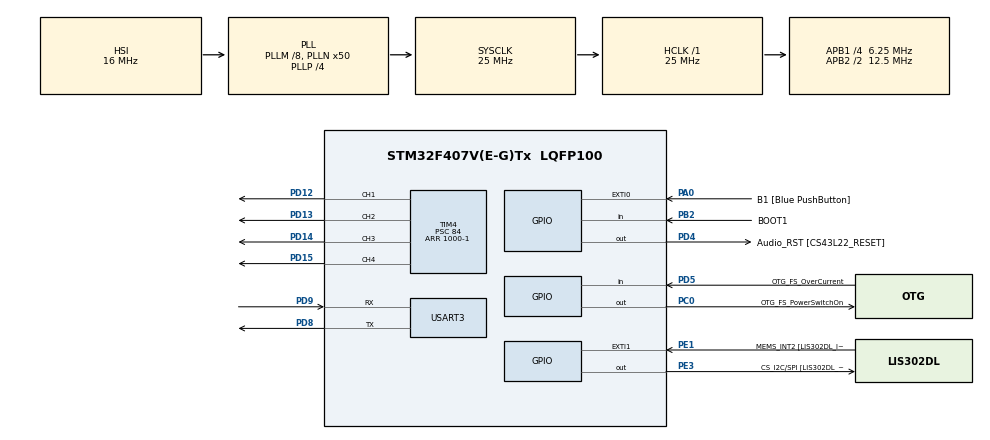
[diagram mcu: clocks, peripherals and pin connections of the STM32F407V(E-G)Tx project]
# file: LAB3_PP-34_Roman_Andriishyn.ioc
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FREERTOS.Mutexes01=ledMutex,Dynamic,NULL,Available
FREERTOS.Tasks01=defaultTask,24,128,StartDefaultTask,Default,NULL,Dynamic,NULL,NULL;ledControlTask,24,128,ledControl,Default,NULL,Dynamic,NULL,NULL
FREERTOS.configUSE_NEWLIB_REENTRANT=1
Mcu.Family=STM32F4
Mcu.Name=STM32F407V(E-G)Tx
Mcu.Package=LQFP100
NVIC.PriorityGroup=NVIC_PRIORITYGROUP_4
NVIC.TIM1_UP_TIM10_IRQn=true\:15\:0\:false\:false\:true\:false\:false\:true\:true
NVIC.TimeBase=TIM1_UP_TIM10_IRQn
NVIC.TimeBaseIP=TIM1
PA0-WKUP.GPIO_Label=B1 [Blue PushButton]
PA0-WKUP.Signal=GPXTI0
PA10.GPIO_Label=OTG_FS_ID
PA10.GPIO_Mode=GPIO_MODE_AF_PP
PA10.GPIO_PuPd=GPIO_NOPULL
PA10.GPIO_Speed=GPIO_SPEED_FREQ_LOW
PA10.Signal=USB_OTG_FS_ID
PA11.GPIO_Label=OTG_FS_DM
PA11.GPIO_Mode=GPIO_MODE_AF_PP
PA11.GPIO_PuPd=GPIO_NOPULL
PA11.GPIO_Speed=GPIO_SPEED_FREQ_LOW
PA11.Signal=USB_OTG_FS_DM
PA12.GPIO_Label=OTG_FS_DP
PA12.GPIO_Mode=GPIO_MODE_AF_PP
PA12.GPIO_PuPd=GPIO_NOPULL
PA12.GPIO_Speed=GPIO_SPEED_FREQ_LOW
PA12.Signal=USB_OTG_FS_DP
PA13.GPIO_Label=SWDIO
PA13.Signal=SYS_JTMS-SWDIO
PA14.GPIO_Label=SWCLK
PA14.Signal=SYS_JTCK-SWCLK
PA4.GPIO_Label=I2S3_WS [CS43L22_LRCK]
PA4.GPIO_Mode=GPIO_MODE_AF_PP
PA4.GPIO_PuPd=GPIO_NOPULL
PA4.GPIO_Speed=GPIO_SPEED_FREQ_LOW
PA4.Signal=I2S3_WS
PA5.GPIO_Label=SPI1_SCK [LIS302DL_SCL/SPC]
PA5.GPIO_Mode=GPIO_MODE_AF_PP
PA5.GPIO_PuPd=GPIO_NOPULL
PA5.GPIO_Speed=GPIO_SPEED_FREQ_LOW
PA5.Signal=SPI1_SCK
PA6.GPIO_Label=SPI1_MISO [LIS302DL_SDO]
PA6.GPIO_Mode=GPIO_MODE_AF_PP
PA6.GPIO_PuPd=GPIO_NOPULL
PA6.GPIO_Speed=GPIO_SPEED_FREQ_LOW
PA6.Signal=SPI1_MISO
PA7.GPIO_Label=SPI1_MOSI [LIS302DL_SDA/SDI/SDO]
PA7.GPIO_Mode=GPIO_MODE_AF_PP
PA7.GPIO_PuPd=GPIO_NOPULL
PA7.GPIO_Speed=GPIO_SPEED_FREQ_LOW
PA7.Signal=SPI1_MOSI
PA9.GPIO_Label=VBUS_FS
PA9.GPIO_Mode=GPIO_MODE_INPUT
PA9.GPIO_PuPd=GPIO_NOPULL
PA9.Signal=USB_OTG_FS_VBUS
PB10.GPIO_Label=CLK_IN [MP45DT02_CLK]
PB10.GPIO_Mode=GPIO_MODE_AF_PP
PB10.GPIO_PuPd=GPIO_NOPULL
PB10.GPIO_Speed=GPIO_SPEED_FREQ_LOW
PB10.Signal=I2S2_CK
PB2.GPIO_Label=BOOT1
PB2.GPIO_Mode=GPIO_MODE_INPUT
PB2.GPIO_PuPd=GPIO_NOPULL
PB2.Signal=GPIO_Input
PB3.GPIO_Label=SWO
PB3.Signal=SYS_JTDO-SWO
PB6.GPIO_Label=Audio_SCL [CS43L22_SCL]
PB6.GPIO_Mode=GPIO_MODE_AF_OD
PB6.GPIO_PuPd=GPIO_NOPULL
PB6.GPIO_Speed=GPIO_SPEED_FREQ_LOW
PB6.Signal=I2C1_SCL
PB9.GPIO_Label=Audio_SDA [CS43L22_SDA]
PB9.GPIO_Mode=GPIO_MODE_AF_OD
PB9.GPIO_PuPd=GPIO_NOPULL
PB9.GPIO_Speed=GPIO_SPEED_FREQ_LOW
PB9.Signal=I2C1_SDA
PC0.GPIO_Label=OTG_FS_PowerSwitchOn
PC0.GPIO_PuPd=GPIO_NOPULL
PC0.GPIO_Speed=GPIO_SPEED_FREQ_LOW
PC0.PinState=GPIO_PIN_SET
PC0.Signal=GPIO_Output
PC10.GPIO_Label=I2S3_SCK [CS43L22_SCLK]
PC10.GPIO_Mode=GPIO_MODE_AF_PP
PC10.GPIO_PuPd=GPIO_NOPULL
PC10.GPIO_Speed=GPIO_SPEED_FREQ_LOW
PC10.Signal=I2S3_CK
PC12.GPIO_Label=I2S3_SD [CS43L22_SDIN]
PC12.GPIO_Mode=GPIO_MODE_AF_PP
PC12.GPIO_PuPd=GPIO_NOPULL
PC12.GPIO_Speed=GPIO_SPEED_FREQ_LOW
PC12.Signal=I2S3_SD
PC14-OSC32_IN.GPIO_Label=PC14-OSC32_IN
PC14-OSC32_IN.Signal=RCC_OSC32_IN
PC15-OSC32_OUT.GPIO_Label=PC15-OSC32_OUT
PC15-OSC32_OUT.Signal=RCC_OSC32_OUT
PC3.GPIO_Label=PDM_OUT [MP45DT02_DOUT]
PC3.GPIO_Mode=GPIO_MODE_AF_PP
PC3.GPIO_PuPd=GPIO_NOPULL
PC3.GPIO_Speed=GPIO_SPEED_FREQ_LOW
PC3.Signal=I2S2_SD
PC7.GPIO_Label=I2S3_MCK [CS43L22_MCLK]
PC7.GPIO_Mode=GPIO_MODE_AF_PP
PC7.GPIO_PuPd=GPIO_NOPULL
PC7.GPIO_Speed=GPIO_SPEED_FREQ_LOW
PC7.Signal=I2S3_MCK
PD12.Signal=S_TIM4_CH1
PD13.Signal=S_TIM4_CH2
PD14.Signal=S_TIM4_CH3
PD15.Signal=S_TIM4_CH4
PD4.GPIO_Label=Audio_RST [CS43L22_RESET]
PD4.GPIO_PuPd=GPIO_NOPULL
PD4.GPIO_Speed=GPIO_SPEED_FREQ_LOW
PD4.Signal=GPIO_Output
PD5.GPIO_Label=OTG_FS_OverCurrent
PD5.GPIO_Mode=GPIO_MODE_INPUT
PD5.GPIO_PuPd=GPIO_NOPULL
PD5.Signal=GPIO_Input
PD8.Mode=Asynchronous
PD8.Signal=USART3_TX
PD9.Mode=Asynchronous
PD9.Signal=USART3_RX
PE1.GPIO_Label=MEMS_INT2 [LIS302DL_INT2]
PE1.GPIO_ModeDefaultEXTI=GPIO_MODE_EVT_RISING
PE1.GPIO_PuPd=GPIO_NOPULL
PE1.Signal=GPXTI1
PE3.GPIO_Label=CS_I2C/SPI [LIS302DL_CS_I2C/SPI]
PE3.GPIO_PuPd=GPIO_NOPULL
PE3.GPIO_Speed=GPIO_SPEED_FREQ_LOW
PE3.Signal=GPIO_Output
PH0-OSC_IN.GPIO_Label=PH0-OSC_IN
PH0-OSC_IN.Signal=RCC_OSC_IN
PH1-OSC_OUT.GPIO_Label=PH1-OSC_OUT
PH1-OSC_OUT.Signal=RCC_OSC_OUT
ProjectManager.HeapSize=0x200
ProjectManager.StackSize=0x400
ProjectManager.TargetToolchain=STM32CubeIDE
RCC.48MHZClocksFreq_Value=14285714.285714285
RCC.AHBFreq_Value=25000000
RCC.APB1CLKDivider=RCC_HCLK_DIV4
RCC.APB1Freq_Value=6250000
RCC.APB1TimFreq_Value=12500000
RCC.APB2CLKDivider=RCC_HCLK_DIV2
RCC.APB2Freq_Value=12500000
RCC.APB2TimFreq_Value=25000000
RCC.CortexFreq_Value=25000000
RCC.HCLKFreq_Value=25000000
RCC.HSE_VALUE=8000000
RCC.HSI_VALUE=16000000
RCC.LSE_VALUE=32768
RCC.PLLM=8
RCC.PLLN=50
RCC.PLLP=RCC_PLLP_DIV4
RCC.PLLQ=7
RCC.SYSCLKFreq_VALUE=25000000
RCC.SYSCLKSource=RCC_SYSCLKSOURCE_PLLCLK
RCC.VCOOutputFreq_Value=100000000
SH.S_TIM4_CH1.0=TIM4_CH1,PWM Generation1 CH1
SH.S_TIM4_CH2.0=TIM4_CH2,PWM Generation2 CH2
SH.S_TIM4_CH3.0=TIM4_CH3,PWM Generation3 CH3
SH.S_TIM4_CH4.0=TIM4_CH4,PWM Generation4 CH4
TIM4.Channel-PWM\ Generation1\ CH1=TIM_CHANNEL_1
TIM4.Channel-PWM\ Generation2\ CH2=TIM_CHANNEL_2
TIM4.Channel-PWM\ Generation3\ CH3=TIM_CHANNEL_3
TIM4.Channel-PWM\ Generation4\ CH4=TIM_CHANNEL_4
TIM4.Period=1000-1
TIM4.Prescaler=84
USART3.VirtualMode=VM_ASYNC
VP_FREERTOS_VS_CMSIS_V2.Mode=CMSIS_V2
VP_SYS_VS_tim1.Mode=TIM1
VP_TIM4_VS_ClockSourceINT.Mode=Internal
board=STM32F407G-DISC1

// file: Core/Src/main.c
/* USER CODE BEGIN Header */
/**
  ******************************************************************************
  * @file           : main.c
  * @brief          : Main program body
  ******************************************************************************
  * @attention
  *
  * Copyright (c) 2024 STMicroelectronics.
  * All rights reserved.
  *
  * This software is licensed under terms that can be found in the LICENSE file
  * in the root directory of this software component.
  * If no LICENSE file comes with this software, it is provided AS-IS.
  *
  ******************************************************************************
  */
/* USER CODE END Header */
#include "main.h"
#include "cmsis_os.h"

/* USER CODE BEGIN Includes */
#include <string.h>
#include <stdlib.h>
/* USER CODE END Includes */

/* USER CODE BEGIN PD */
#define MAX_LEDS 4
#define UART_BUFFER_SIZE 100
/* USER CODE END PD */

TIM_HandleTypeDef htim4;

UART_HandleTypeDef huart3;

/* Definitions for defaultTask */
osThreadId_t defaultTaskHandle;
const osThreadAttr_t defaultTask_attributes = {
  .name = "defaultTask",
  .stack_size = 128 * 4,
  .priority = (osPriority_t) osPriorityNormal,
};
/* Definitions for ledControlTask */
osThreadId_t ledControlTaskHandle;
const osThreadAttr_t ledControlTask_attributes = {
  .name = "ledControlTask",
  .stack_size = 128 * 4,
  .priority = (osPriority_t) osPriorityNormal,
};
/* Definitions for ledMutex */
osMutexId_t ledMutexHandle;
const osMutexAttr_t ledMutex_attributes = {
  .name = "ledMutex"
};
/* USER CODE BEGIN PV */
char uartBuffer[UART_BUFFER_SIZE];
uint8_t uartIndex = 0;
uint8_t ledBrightness[MAX_LEDS] = {0};
osThreadId_t ledTasks[MAX_LEDS];
osMutexId_t ledMutexHandle;
void processCommand(char* command);
/* USER CODE END PV */

void SystemClock_Config(void);
static void MX_GPIO_Init(void);
static void MX_USART3_UART_Init(void);
static void MX_TIM4_Init(void);
void StartDefaultTask(void *argument);
void ledControl(void *argument);

/* USER CODE BEGIN 0 */
void HAL_UART_RxHalfCpltCallback(UART_HandleTypeDef *huart)
{
  // Handle incoming UART data
}

void HAL_UART_RxCpltCallback(UART_HandleTypeDef *huart)
{
  // Handle incoming UART data
  if (huart->Instance == USART3) {
    uartBuffer[uartIndex] = '\0';  // Null-terminate the string
    processCommand(uartBuffer);
    uartIndex = 0; // Reset index for next command
  }
}

void HAL_GPIO_EXTI_Callback(uint16_t GPIO_Pin)
{
  if (GPIO_Pin == GPIO_PIN_0) { // If button is pressed
    for (int i = 0; i < MAX_LEDS; i++) {
      ledBrightness[i] = 0; // Turn off all LEDs
      __HAL_TIM_SET_COMPARE(&htim4, TIM_CHANNEL_1 + i, 0);
    }
  }
}
/* USER CODE END 0 */

int main(void)
{

  /* MCU Configuration--------------------------------------------------------*/

  /* Reset of all peripherals, Initializes the Flash interface and the Systick. */
  HAL_Init();

  /* Configure the system clock */
  SystemClock_Config();

  /* Initialize all configured peripherals */
  MX_GPIO_Init();
  MX_USART3_UART_Init();
  MX_TIM4_Init();
  /* USER CODE BEGIN 2 */
  HAL_UART_Receive_IT(&huart3, (uint8_t*)&uartBuffer[uartIndex], 1); // Start UART reception
  /* USER CODE END 2 */

  /* Init scheduler */
  osKernelInitialize();
  /* Create the mutex(es) */
  /* creation of ledMutex */
  ledMutexHandle = osMutexNew(&ledMutex_attributes);

  /* Create the thread(s) */
  /* creation of defaultTask */
  defaultTaskHandle = osThreadNew(StartDefaultTask, NULL, &defaultTask_attributes);

  /* creation of ledControlTask */
  ledControlTaskHandle = osThreadNew(ledControl, NULL, &ledControlTask_attributes);

  /* Start scheduler */
  osKernelStart();

  /* We should never get here as control is now taken by the scheduler */

  /* Infinite loop */
  while (1)
  {

  }
}

void SystemClock_Config(void)
{
  RCC_OscInitTypeDef RCC_OscInitStruct = {0};
  RCC_ClkInitTypeDef RCC_ClkInitStruct = {0};

  /** Configure the main internal regulator output voltage
  */
  __HAL_RCC_PWR_CLK_ENABLE();
  __HAL_PWR_VOLTAGESCALING_CONFIG(PWR_REGULATOR_VOLTAGE_SCALE1);

  /** Initializes the RCC Oscillators according to the specified parameters
  * in the RCC_OscInitTypeDef structure.
  */
  RCC_OscInitStruct.OscillatorType = RCC_OSCILLATORTYPE_HSI;
  RCC_OscInitStruct.HSIState = RCC_HSI_ON;
  RCC_OscInitStruct.HSICalibrationValue = RCC_HSICALIBRATION_DEFAULT;
  RCC_OscInitStruct.PLL.PLLState = RCC_PLL_ON;
  RCC_OscInitStruct.PLL.PLLSource = RCC_PLLSOURCE_HSI;
  RCC_OscInitStruct.PLL.PLLM = 8;
  RCC_OscInitStruct.PLL.PLLN = 50;
  RCC_OscInitStruct.PLL.PLLP = RCC_PLLP_DIV4;
  RCC_OscInitStruct.PLL.PLLQ = 7;
  if (HAL_RCC_OscConfig(&RCC_OscInitStruct) != HAL_OK)
  {
    Error_Handler();
  }

  /** Initializes the CPU, AHB and APB buses clocks
  */
  RCC_ClkInitStruct.ClockType = RCC_CLOCKTYPE_HCLK|RCC_CLOCKTYPE_SYSCLK
                              |RCC_CLOCKTYPE_PCLK1|RCC_CLOCKTYPE_PCLK2;
  RCC_ClkInitStruct.SYSCLKSource = RCC_SYSCLKSOURCE_PLLCLK;
  RCC_ClkInitStruct.AHBCLKDivider = RCC_SYSCLK_DIV1;
  RCC_ClkInitStruct.APB1CLKDivider = RCC_HCLK_DIV4;
  RCC_ClkInitStruct.APB2CLKDivider = RCC_HCLK_DIV2;

  if (HAL_RCC_ClockConfig(&RCC_ClkInitStruct, FLASH_LATENCY_0) != HAL_OK)
  {
    Error_Handler();
  }
}

static void MX_TIM4_Init(void)
{

  TIM_ClockConfigTypeDef sClockSourceConfig = {0};
  TIM_MasterConfigTypeDef sMasterConfig = {0};
  TIM_OC_InitTypeDef sConfigOC = {0};

  htim4.Instance = TIM4;
  htim4.Init.Prescaler = 84;
  htim4.Init.CounterMode = TIM_COUNTERMODE_UP;
  htim4.Init.Period = 1000-1;
  htim4.Init.ClockDivision = TIM_CLOCKDIVISION_DIV1;
  htim4.Init.AutoReloadPreload = TIM_AUTORELOAD_PRELOAD_DISABLE;
  if (HAL_TIM_Base_Init(&htim4) != HAL_OK)
  {
    Error_Handler();
  }
  sClockSourceConfig.ClockSource = TIM_CLOCKSOURCE_INTERNAL;
  if (HAL_TIM_ConfigClockSource(&htim4, &sClockSourceConfig) != HAL_OK)
  {
    Error_Handler();
  }
  if (HAL_TIM_PWM_Init(&htim4) != HAL_OK)
  {
    Error_Handler();
  }
  sMasterConfig.MasterOutputTrigger = TIM_TRGO_RESET;
  sMasterConfig.MasterSlaveMode = TIM_MASTERSLAVEMODE_DISABLE;
  if (HAL_TIMEx_MasterConfigSynchronization(&htim4, &sMasterConfig) != HAL_OK)
  {
    Error_Handler();
  }
  sConfigOC.OCMode = TIM_OCMODE_PWM1;
  sConfigOC.Pulse = 0;
  sConfigOC.OCPolarity = TIM_OCPOLARITY_HIGH;
  sConfigOC.OCFastMode = TIM_OCFAST_DISABLE;
  if (HAL_TIM_PWM_ConfigChannel(&htim4, &sConfigOC, TIM_CHANNEL_1) != HAL_OK)
  {
    Error_Handler();
  }
  if (HAL_TIM_PWM_ConfigChannel(&htim4, &sConfigOC, TIM_CHANNEL_2) != HAL_OK)
  {
    Error_Handler();
  }
  if (HAL_TIM_PWM_ConfigChannel(&htim4, &sConfigOC, TIM_CHANNEL_3) != HAL_OK)
  {
    Error_Handler();
  }
  if (HAL_TIM_PWM_ConfigChannel(&htim4, &sConfigOC, TIM_CHANNEL_4) != HAL_OK)
  {
    Error_Handler();
  }
  HAL_TIM_MspPostInit(&htim4);

}

static void MX_USART3_UART_Init(void)
{

  huart3.Instance = USART3;
  huart3.Init.BaudRate = 115200;
  huart3.Init.WordLength = UART_WORDLENGTH_8B;
  huart3.Init.StopBits = UART_STOPBITS_1;
  huart3.Init.Parity = UART_PARITY_NONE;
  huart3.Init.Mode = UART_MODE_TX_RX;
  huart3.Init.HwFlowCtl = UART_HWCONTROL_NONE;
  huart3.Init.OverSampling = UART_OVERSAMPLING_16;
  if (HAL_UART_Init(&huart3) != HAL_OK)
  {
    Error_Handler();
  }

}

static void MX_GPIO_Init(void)
{
  GPIO_InitTypeDef GPIO_InitStruct = {0};

  /* GPIO Ports Clock Enable */
  __HAL_RCC_GPIOE_CLK_ENABLE();
  __HAL_RCC_GPIOC_CLK_ENABLE();
  __HAL_RCC_GPIOH_CLK_ENABLE();
  __HAL_RCC_GPIOA_CLK_ENABLE();
  __HAL_RCC_GPIOB_CLK_ENABLE();
  __HAL_RCC_GPIOD_CLK_ENABLE();

  /*Configure GPIO pin Output Level */
  HAL_GPIO_WritePin(CS_I2C_SPI_GPIO_Port, CS_I2C_SPI_Pin, GPIO_PIN_RESET);

  /*Configure GPIO pin Output Level */
  HAL_GPIO_WritePin(OTG_FS_PowerSwitchOn_GPIO_Port, OTG_FS_PowerSwitchOn_Pin, GPIO_PIN_SET);

  /*Configure GPIO pin Output Level */
  HAL_GPIO_WritePin(Audio_RST_GPIO_Port, Audio_RST_Pin, GPIO_PIN_RESET);

  /*Configure GPIO pin : CS_I2C_SPI_Pin */
  GPIO_InitStruct.Pin = CS_I2C_SPI_Pin;
  GPIO_InitStruct.Mode = GPIO_MODE_OUTPUT_PP;
  GPIO_InitStruct.Pull = GPIO_NOPULL;
  GPIO_InitStruct.Speed = GPIO_SPEED_FREQ_LOW;
  HAL_GPIO_Init(CS_I2C_SPI_GPIO_Port, &GPIO_InitStruct);

  /*Configure GPIO pin : OTG_FS_PowerSwitchOn_Pin */
  GPIO_InitStruct.Pin = OTG_FS_PowerSwitchOn_Pin;
  GPIO_InitStruct.Mode = GPIO_MODE_OUTPUT_PP;
  GPIO_InitStruct.Pull = GPIO_NOPULL;
  GPIO_InitStruct.Speed = GPIO_SPEED_FREQ_LOW;
  HAL_GPIO_Init(OTG_FS_PowerSwitchOn_GPIO_Port, &GPIO_InitStruct);

  /*Configure GPIO pin : PDM_OUT_Pin */
  GPIO_InitStruct.Pin = PDM_OUT_Pin;
  GPIO_InitStruct.Mode = GPIO_MODE_AF_PP;
  GPIO_InitStruct.Pull = GPIO_NOPULL;
  GPIO_InitStruct.Speed = GPIO_SPEED_FREQ_LOW;
  GPIO_InitStruct.Alternate = GPIO_AF5_SPI2;
  HAL_GPIO_Init(PDM_OUT_GPIO_Port, &GPIO_InitStruct);

  /*Configure GPIO pin : B1_Pin */
  GPIO_InitStruct.Pin = B1_Pin;
  GPIO_InitStruct.Mode = GPIO_MODE_IT_RISING;
  GPIO_InitStruct.Pull = GPIO_NOPULL;
  HAL_GPIO_Init(B1_GPIO_Port, &GPIO_InitStruct);

  /*Configure GPIO pin : I2S3_WS_Pin */
  GPIO_InitStruct.Pin = I2S3_WS_Pin;
  GPIO_InitStruct.Mode = GPIO_MODE_AF_PP;
  GPIO_InitStruct.Pull = GPIO_NOPULL;
  GPIO_InitStruct.Speed = GPIO_SPEED_FREQ_LOW;
  GPIO_InitStruct.Alternate = GPIO_AF6_SPI3;
  HAL_GPIO_Init(I2S3_WS_GPIO_Port, &GPIO_InitStruct);

  /*Configure GPIO pins : SPI1_SCK_Pin SPI1_MISO_Pin SPI1_MOSI_Pin */
  GPIO_InitStruct.Pin = SPI1_SCK_Pin|SPI1_MISO_Pin|SPI1_MOSI_Pin;
  GPIO_InitStruct.Mode = GPIO_MODE_AF_PP;
  GPIO_InitStruct.Pull = GPIO_NOPULL;
  GPIO_InitStruct.Speed = GPIO_SPEED_FREQ_LOW;
  GPIO_InitStruct.Alternate = GPIO_AF5_SPI1;
  HAL_GPIO_Init(GPIOA, &GPIO_InitStruct);

  /*Configure GPIO pin : BOOT1_Pin */
  GPIO_InitStruct.Pin = BOOT1_Pin;
  GPIO_InitStruct.Mode = GPIO_MODE_INPUT;
  GPIO_InitStruct.Pull = GPIO_NOPULL;
  HAL_GPIO_Init(BOOT1_GPIO_Port, &GPIO_InitStruct);

  /*Configure GPIO pin : CLK_IN_Pin */
  GPIO_InitStruct.Pin = CLK_IN_Pin;
  GPIO_InitStruct.Mode = GPIO_MODE_AF_PP;
  GPIO_InitStruct.Pull = GPIO_NOPULL;
  GPIO_InitStruct.Speed = GPIO_SPEED_FREQ_LOW;
  GPIO_InitStruct.Alternate = GPIO_AF5_SPI2;
  HAL_GPIO_Init(CLK_IN_GPIO_Port, &GPIO_InitStruct);

  /*Configure GPIO pins : I2S3_MCK_Pin I2S3_SCK_Pin I2S3_SD_Pin */
  GPIO_InitStruct.Pin = I2S3_MCK_Pin|I2S3_SCK_Pin|I2S3_SD_Pin;
  GPIO_InitStruct.Mode = GPIO_MODE_AF_PP;
  GPIO_InitStruct.Pull = GPIO_NOPULL;
  GPIO_InitStruct.Speed = GPIO_SPEED_FREQ_LOW;
  GPIO_InitStruct.Alternate = GPIO_AF6_SPI3;
  HAL_GPIO_Init(GPIOC, &GPIO_InitStruct);

  /*Configure GPIO pin : VBUS_FS_Pin */
  GPIO_InitStruct.Pin = VBUS_FS_Pin;
  GPIO_InitStruct.Mode = GPIO_MODE_INPUT;
  GPIO_InitStruct.Pull = GPIO_NOPULL;
  HAL_GPIO_Init(VBUS_FS_GPIO_Port, &GPIO_InitStruct);

  /*Configure GPIO pins : OTG_FS_ID_Pin OTG_FS_DM_Pin OTG_FS_DP_Pin */
  GPIO_InitStruct.Pin = OTG_FS_ID_Pin|OTG_FS_DM_Pin|OTG_FS_DP_Pin;
  GPIO_InitStruct.Mode = GPIO_MODE_AF_PP;
  GPIO_InitStruct.Pull = GPIO_NOPULL;
  GPIO_InitStruct.Speed = GPIO_SPEED_FREQ_LOW;
  GPIO_InitStruct.Alternate = GPIO_AF10_OTG_FS;
  HAL_GPIO_Init(GPIOA, &GPIO_InitStruct);

  /*Configure GPIO pin : Audio_RST_Pin */
  GPIO_InitStruct.Pin = Audio_RST_Pin;
  GPIO_InitStruct.Mode = GPIO_MODE_OUTPUT_PP;
  GPIO_InitStruct.Pull = GPIO_NOPULL;
  GPIO_InitStruct.Speed = GPIO_SPEED_FREQ_LOW;
  HAL_GPIO_Init(Audio_RST_GPIO_Port, &GPIO_InitStruct);

  /*Configure GPIO pin : OTG_FS_OverCurrent_Pin */
  GPIO_InitStruct.Pin = OTG_FS_OverCurrent_Pin;
  GPIO_InitStruct.Mode = GPIO_MODE_INPUT;
  GPIO_InitStruct.Pull = GPIO_NOPULL;
  HAL_GPIO_Init(OTG_FS_OverCurrent_GPIO_Port, &GPIO_InitStruct);

  /*Configure GPIO pins : Audio_SCL_Pin Audio_SDA_Pin */
  GPIO_InitStruct.Pin = Audio_SCL_Pin|Audio_SDA_Pin;
  GPIO_InitStruct.Mode = GPIO_MODE_AF_OD;
  GPIO_InitStruct.Pull = GPIO_NOPULL;
  GPIO_InitStruct.Speed = GPIO_SPEED_FREQ_LOW;
  GPIO_InitStruct.Alternate = GPIO_AF4_I2C1;
  HAL_GPIO_Init(GPIOB, &GPIO_InitStruct);

  /*Configure GPIO pin : MEMS_INT2_Pin */
  GPIO_InitStruct.Pin = MEMS_INT2_Pin;
  GPIO_InitStruct.Mode = GPIO_MODE_EVT_RISING;
  GPIO_InitStruct.Pull = GPIO_NOPULL;
  HAL_GPIO_Init(MEMS_INT2_GPIO_Port, &GPIO_InitStruct);

}

/* USER CODE BEGIN 4 */
void processCommand(char* command)
{
    char* token;
    int ledIndex, brightness;

    token = strtok(command, " ");
    if (strcmp(token, "LED") == 0) {
        token = strtok(NULL, " ");
        ledIndex = atoi(token) - 1;

        token = strtok(NULL, " ");
        if (strcmp(token, "SET") == 0) {
            token = strtok(NULL, " ");
            if (strcmp(token, "BRIGHTNESS") == 0) {
                token = strtok(NULL, " ");
                brightness = atoi(token);

                if (ledIndex >= 0 && ledIndex < MAX_LEDS && brightness >= 0 && brightness <= 100) {
                    osMutexWait(ledMutexHandle, osWaitForever);
                    ledBrightness[ledIndex] = brightness;
                    osMutexRelease(ledMutexHandle);
                }
            }
        }
    }
}
/* USER CODE END 4 */

void StartDefaultTask(void *argument)
{
  /* USER CODE BEGIN 5 */
  /* Infinite loop */
  for(;;)
  {
    osDelay(100);
  }
  /* USER CODE END 5 */
}

void ledControl(void *argument)
{
  /* USER CODE BEGIN ledControl */
  /* Infinite loop */
	int ledIndex = (int)argument;

	  for (;;) {
	    osMutexWait(ledMutexHandle, osWaitForever);
	    __HAL_TIM_SET_COMPARE(&htim4, TIM_CHANNEL_1 + ledIndex, ledBrightness[ledIndex] * 10);
	    osMutexRelease(ledMutexHandle);
	    osDelay(10);
	  }
  /* USER CODE END ledControl */
}

void HAL_TIM_PeriodElapsedCallback(TIM_HandleTypeDef *htim)
{
  if (htim->Instance == TIM1) {
    HAL_IncTick();
  }
}

void Error_Handler(void)
{
  __disable_irq();
  while (1)
  {
  }
}
